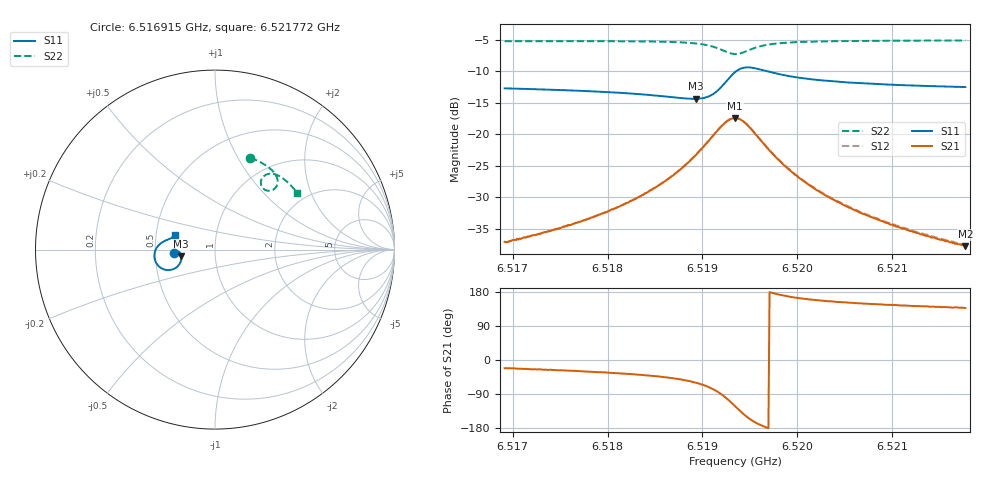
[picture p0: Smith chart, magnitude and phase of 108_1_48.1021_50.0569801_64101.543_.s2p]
#  HZ  S  RI  R  50.00
! Rohde & Schwarz Vector Network Analyzer
! Rohde-Schwarz,ZNB20-2Port,1311601062101988,3.16
! Created: UTC 12/23/2023, 3:45:27 AM
! freq[Hz]  re:S11  im:S11  re:S21  im:S21  re:S12  im:S12  re:S22  im:S22
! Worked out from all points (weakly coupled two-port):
!   401 points, 6.516915 GHz to 6.521772 GHz, reference 50 ohm
!   highest |S21| = -17.42 dB at 6.519344 GHz (marker M1); lowest = -37.7 dB at 6.521772 GHz (marker M2)
!   lowest |S11| = -14.4 dB at 6.518931 GHz (marker M3), VSWR 1.47, Z = 34.1 - j2.62 ohm
!   |S11| at or under -10 dB: start of sweep to 6.519355 GHz; 6.519686 GHz to end of sweep
!   |S22| runs from -7.3 to -5.1 dB; largest |S21 - S12| = 0.0041
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6.5169154e9  -0.2311 -0.0188  0.013 -0.00524  0.0131 -0.00466  0.1974 0.5115
6.5172675e9  -0.2274 -0.0135  0.0147 -0.00672  0.0148 -0.00635  0.2235 0.501
6.5177289e9  -0.2212 -0.00773  0.0177 -0.0102  0.018 -0.00958  0.2575 0.4844
6.5181418e9  -0.2134 -0.00544  0.0222 -0.0158  0.0227 -0.015  0.2885 0.4656
6.5183725e9  -0.2073 -0.00645  0.0255 -0.0212  0.0262 -0.0203  0.3062 0.4525
6.5185425e9  -0.2019 -0.00959  0.0286 -0.0273  0.0295 -0.0264  0.3195 0.4403
6.5187368e9  -0.1946 -0.0178  0.0325 -0.0385  0.0337 -0.0377  0.3345 0.4226
6.5189311e9  -0.1878 -0.037  0.0344 -0.0593  0.0366 -0.0585  0.3469 0.396
6.5190282e9  -0.1881 -0.0542  0.0314 -0.0761  0.034 -0.0756  0.3492 0.3771
6.5191132e9  -0.1947 -0.0751  0.0221 -0.0952  0.0252 -0.0952  0.3446 0.3571
6.5192468e9  -0.2364 -0.1104  -0.0206 -0.123  -0.0171 -0.1246  0.3128 0.329
6.5193439e9  -0.2927 -0.1068  -0.0711 -0.1143  -0.0682 -0.1172  0.2742 0.3359
6.5194046e9  -0.3218 -0.0829  -0.0944 -0.0901  -0.0926 -0.0936  0.2583 0.3562
6.5194654e9  -0.3361 -0.0516  -0.1034 -0.0616  -0.1024 -0.0649  0.2557 0.3795
6.5195625e9  -0.3338 -0.00872  -0.0967 -0.0252  -0.0967 -0.0282  0.2696 0.4071
6.5196718e9  -0.3178 0.0201  -0.0799 -0.00322  -0.0805 -0.00567  0.2923 0.4205
6.5199025e9  -0.2876 0.0446  -0.0522 0.0114  -0.0532 0.00999  0.3309 0.4207
6.5201575e9  -0.2677 0.054  -0.0357 0.0136  -0.0365 0.0127  0.3596 0.409
6.5204975e9  -0.2521 0.0605  -0.0242 0.0127  -0.0249 0.0123  0.3877 0.3901
6.520971e9  -0.2388 0.0676  -0.0159 0.0111  -0.0166 0.0108  0.4182 0.3622
6.5213232e9  -0.2316 0.0725  -0.0126 0.00984  -0.0131 0.00977  0.4377 0.3409
6.5217725e9  -0.2239 0.0786  -0.00952 0.00879  -0.01 0.00879  0.4596 0.3132
